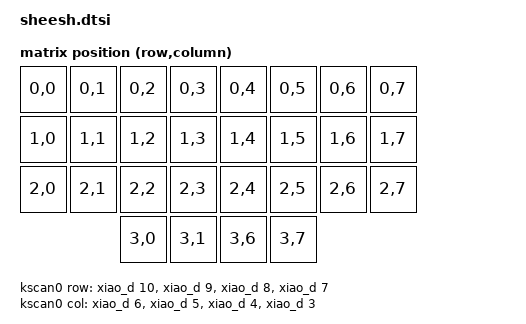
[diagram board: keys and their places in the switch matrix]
/*
* Copyright (c) 2022 The ZMK Contributors
*
* SPDX-License-Identifier: MIT
*/

#include <dt-bindings/zmk/matrix_transform.h>

#define KEYS_L 0 1 2 3 8 9 10 11 16 17 18 19 24 25// left-hand keys
#define KEYS_R 4 5 6 7 12 13 14 15 20 21 22 23 26 27// right-hand keys
#define THUMBS 24 25 26 27// thumb keys

/ {
	chosen {
		zmk,kscan = &kscan0;
		zmk,matrix_transform = &default_transform;
	};
	
	default_transform: keymap_transform_0 {
		compatible = "zmk,matrix-transform";
		columns = <8>;
		rows = <4>;
		
		map = <
		RC(0,0) RC(0,1) RC(0,2)  RC(0,3)  RC(0,4) RC(0,5) RC(0,6) RC(0,7)
		RC(1,0) RC(1,1) RC(1,2)  RC(1,3)  RC(1,4) RC(1,5) RC(1,6) RC(1,7)
		RC(2,0) RC(2,1) RC(2,2)  RC(2,3)  RC(2,4) RC(2,5) RC(2,6) RC(2,7)
		                RC(3,0)  RC(3,1)  RC(3,6) RC(3,7)
		>;
	};
	
	kscan0: kscan {
        compatible = "zmk,kscan-gpio-matrix";
        wakeup-source;
        diode-direction = "col2row";
        col-gpios
            = <&xiao_d 6 GPIO_ACTIVE_HIGH>
            , <&xiao_d 5 GPIO_ACTIVE_HIGH>
            , <&xiao_d 4 GPIO_ACTIVE_HIGH>
            , <&xiao_d 3 GPIO_ACTIVE_HIGH>
            ;
        row-gpios
            = <&xiao_d 10 (GPIO_ACTIVE_HIGH | GPIO_PULL_DOWN)>
            , <&xiao_d 9 (GPIO_ACTIVE_HIGH | GPIO_PULL_DOWN)>
            , <&xiao_d 8 (GPIO_ACTIVE_HIGH | GPIO_PULL_DOWN)>
            , <&xiao_d 7 (GPIO_ACTIVE_HIGH | GPIO_PULL_DOWN)>
            ;
    };
};
